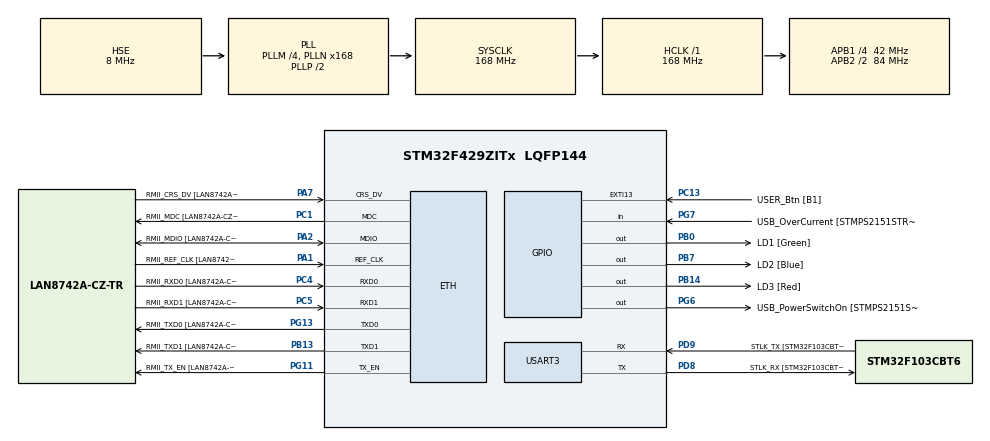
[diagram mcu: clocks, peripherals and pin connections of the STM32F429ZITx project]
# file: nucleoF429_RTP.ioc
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Dma.Request0=USART3_RX
Dma.Request1=USART3_TX
Dma.USART3_RX.0.Direction=DMA_PERIPH_TO_MEMORY
Dma.USART3_RX.0.FIFOMode=DMA_FIFOMODE_ENABLE
Dma.USART3_RX.0.FIFOThreshold=DMA_FIFO_THRESHOLD_HALFFULL
Dma.USART3_RX.0.Instance=DMA1_Stream1
Dma.USART3_RX.0.MemBurst=DMA_MBURST_SINGLE
Dma.USART3_RX.0.MemDataAlignment=DMA_MDATAALIGN_BYTE
Dma.USART3_RX.0.MemInc=DMA_MINC_ENABLE
Dma.USART3_RX.0.Mode=DMA_NORMAL
Dma.USART3_RX.0.PeriphBurst=DMA_PBURST_SINGLE
Dma.USART3_RX.0.PeriphDataAlignment=DMA_PDATAALIGN_BYTE
Dma.USART3_RX.0.PeriphInc=DMA_PINC_DISABLE
Dma.USART3_RX.0.Priority=DMA_PRIORITY_LOW
Dma.USART3_TX.1.Direction=DMA_MEMORY_TO_PERIPH
Dma.USART3_TX.1.FIFOMode=DMA_FIFOMODE_ENABLE
Dma.USART3_TX.1.FIFOThreshold=DMA_FIFO_THRESHOLD_HALFFULL
Dma.USART3_TX.1.Instance=DMA1_Stream3
Dma.USART3_TX.1.MemBurst=DMA_MBURST_SINGLE
Dma.USART3_TX.1.MemDataAlignment=DMA_MDATAALIGN_BYTE
Dma.USART3_TX.1.MemInc=DMA_MINC_ENABLE
Dma.USART3_TX.1.Mode=DMA_NORMAL
Dma.USART3_TX.1.PeriphBurst=DMA_PBURST_SINGLE
Dma.USART3_TX.1.PeriphDataAlignment=DMA_PDATAALIGN_BYTE
Dma.USART3_TX.1.PeriphInc=DMA_PINC_DISABLE
Dma.USART3_TX.1.Priority=DMA_PRIORITY_LOW
ETH.MediaInterface=HAL_ETH_RMII_MODE
ETH.PHY_Name=LAN8742A_PHY_ADDRESS
ETH.PHY_Value=0
ETH.PhyAddress=0
FREERTOS.Tasks01=defaultTask,0,128,StartDefaultTask,Default,NULL,Dynamic,NULL,NULL
FREERTOS.configUSE_NEWLIB_REENTRANT=1
LWIP.BSP.number=1
LWIP.LWIP_IGMP=1
LWIP.LWIP_MULTICAST_TX_OPTIONS=1
LWIP.Version=v2.1.2_Cube
LWIP0.BSP.STBoard=false
LWIP0.BSP.api=BSP_COMPONENT_DRIVER
LWIP0.BSP.component=LAN8742
LWIP0.BSP.instance=LAN8742
LWIP0.BSP.name=Driver_PHY
LWIP0.BSP.semaphore=S_LAN8742
LWIP0.BSP.solution=LAN8742
Mcu.Family=STM32F4
Mcu.Name=STM32F429ZITx
Mcu.Package=LQFP144
NVIC.DMA1_Stream1_IRQn=true\:5\:0\:false\:false\:true\:true\:false\:true\:true
NVIC.DMA1_Stream3_IRQn=true\:5\:0\:false\:false\:true\:true\:false\:true\:true
NVIC.ETH_IRQn=true\:5\:0\:false\:false\:true\:true\:false\:true\:true
NVIC.PriorityGroup=NVIC_PRIORITYGROUP_4
NVIC.TIM1_UP_TIM10_IRQn=true\:15\:0\:false\:false\:true\:false\:false\:true\:true
NVIC.TimeBase=TIM1_UP_TIM10_IRQn
NVIC.TimeBaseIP=TIM1
NVIC.USART3_IRQn=true\:5\:0\:false\:false\:true\:true\:true\:true\:true
PA1.GPIO_Label=RMII_REF_CLK [LAN8742A-CZ-TR_REFCLK0]
PA1.Mode=RMII
PA1.Signal=ETH_REF_CLK
PA10.GPIO_Label=USB_ID
PA10.Signal=USB_OTG_FS_ID
PA11.GPIO_Label=USB_DM
PA11.Signal=USB_OTG_FS_DM
PA12.GPIO_Label=USB_DP
PA12.Signal=USB_OTG_FS_DP
PA13.GPIO_Label=TMS
PA13.Mode=Serial_Wire
PA13.Signal=SYS_JTMS-SWDIO
PA14.GPIO_Label=TCK
PA14.Mode=Serial_Wire
PA14.Signal=SYS_JTCK-SWCLK
PA2.GPIO_Label=RMII_MDIO [LAN8742A-CZ-TR_MDIO]
PA2.Mode=RMII
PA2.Signal=ETH_MDIO
PA7.GPIO_Label=RMII_CRS_DV [LAN8742A-CZ-TR_CRS_DV]
PA7.Mode=RMII
PA7.Signal=ETH_CRS_DV
PA8.GPIO_Label=USB_SOF [TP1]
PA8.Signal=USB_OTG_FS_SOF
PA9.GPIO_Label=USB_VBUS
PA9.Signal=USB_OTG_FS_VBUS
PB0.GPIO_Label=LD1 [Green]
PB0.Signal=GPIO_Output
PB13.GPIO_Label=RMII_TXD1 [LAN8742A-CZ-TR_TXD1]
PB13.Mode=RMII
PB13.Signal=ETH_TXD1
PB14.GPIO_Label=LD3 [Red]
PB14.Signal=GPIO_Output
PB7.GPIO_Label=LD2 [Blue]
PB7.Signal=GPIO_Output
PC1.GPIO_Label=RMII_MDC [LAN8742A-CZ-TR_MDC]
PC1.Mode=RMII
PC1.Signal=ETH_MDC
PC13.GPIO_Label=USER_Btn [B1]
PC13.Signal=GPXTI13
PC14/OSC32_IN.Mode=LSE-External-Oscillator
PC14/OSC32_IN.Signal=RCC_OSC32_IN
PC15/OSC32_OUT.Mode=LSE-External-Oscillator
PC15/OSC32_OUT.Signal=RCC_OSC32_OUT
PC4.GPIO_Label=RMII_RXD0 [LAN8742A-CZ-TR_RXD0]
PC4.Mode=RMII
PC4.Signal=ETH_RXD0
PC5.GPIO_Label=RMII_RXD1 [LAN8742A-CZ-TR_RXD1]
PC5.Mode=RMII
PC5.Signal=ETH_RXD1
PD8.GPIO_Label=STLK_RX [STM32F103CBT6_PA3]
PD8.Mode=Asynchronous
PD8.Signal=USART3_TX
PD9.GPIO_Label=STLK_TX [STM32F103CBT6_PA2]
PD9.Mode=Asynchronous
PD9.Signal=USART3_RX
PG11.GPIO_Label=RMII_TX_EN [LAN8742A-CZ-TR_TXEN]
PG11.Mode=RMII
PG11.Signal=ETH_TX_EN
PG13.GPIO_Label=RMII_TXD0 [LAN8742A-CZ-TR_TXD0]
PG13.Mode=RMII
PG13.Signal=ETH_TXD0
PG6.GPIO_Label=USB_PowerSwitchOn [STMPS2151STR_EN]
PG6.Signal=GPIO_Output
PG7.GPIO_Label=USB_OverCurrent [STMPS2151STR_FAULT]
PG7.Signal=GPIO_Input
PH0/OSC_IN.GPIO_Label=MCO [STM32F103CBT6_PA8]
PH0/OSC_IN.Mode=HSE-External-Clock-Source
PH0/OSC_IN.Signal=RCC_OSC_IN
PH1/OSC_OUT.Mode=HSE-External-Clock-Source
PH1/OSC_OUT.Signal=RCC_OSC_OUT
ProjectManager.HeapSize=0x200
ProjectManager.StackSize=0x400
ProjectManager.TargetToolchain=STM32CubeIDE
RCC.48MHZClocksFreq_Value=48000000
RCC.AHBFreq_Value=168000000
RCC.APB1CLKDivider=RCC_HCLK_DIV4
RCC.APB1Freq_Value=42000000
RCC.APB1TimFreq_Value=84000000
RCC.APB2CLKDivider=RCC_HCLK_DIV2
RCC.APB2Freq_Value=84000000
RCC.APB2TimCLKDivider=2
RCC.APB2TimFreq_Value=168000000
RCC.CortexFreq_Value=168000000
RCC.HCLKFreq_Value=168000000
RCC.HSE_VALUE=8000000
RCC.HSI_VALUE=16000000
RCC.PLLM=4
RCC.PLLMUL=RCC_PLL_MUL9
RCC.PLLN=168
RCC.PLLQ=7
RCC.PLLSourceVirtual=RCC_PLLSOURCE_HSE
RCC.PRESCALERUSB=RCC_USBCLKSOURCE_PLL_DIV1_5
RCC.SYSCLKFreq_VALUE=168000000
RCC.SYSCLKSource=RCC_SYSCLKSOURCE_PLLCLK
RCC.SYSCLKSourceVirtual=RCC_SYSCLKSOURCE_PLLCLK
RCC.USBFreq_Value=48000000
RCC.VCOOutputFreq_Value=336000000
USART3.VirtualMode=VM_ASYNC
VP_CRC_VS_CRC.Mode=CRC_Activate
VP_FREERTOS_VS_CMSIS_V1.Mode=CMSIS_V1
VP_LWIP_VS_Enabled.Mode=Enabled
VP_RTC_VS_RTC_Activate.Mode=RTC_Enabled
VP_SYS_VS_tim1.Mode=TIM1
board=NUCLEO-F429ZI

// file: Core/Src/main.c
/* USER CODE BEGIN Header */
/**
  ******************************************************************************
  * @file           : main.c
  * @brief          : Main program body
  ******************************************************************************
  * @attention
  *
  * Copyright (c) 2024 STMicroelectronics.
  * All rights reserved.
  *
  * This software is licensed under terms that can be found in the LICENSE file
  * in the root directory of this software component.
  * If no LICENSE file comes with this software, it is provided AS-IS.
  *
  ******************************************************************************
  */
/* USER CODE END Header */
#include "main.h"
#include "cmsis_os.h"
#include "lwip.h"

/* USER CODE BEGIN Includes */
#include "udpecho_raw.h"
#include "logging.h"
#include <stdio.h>

/* USER CODE END Includes */

/* USER CODE BEGIN PM */
static uint8_t FIRMWARE_VERSION_DATA[3] = {1, 0, 0};

/* USER CODE END PM */

CRC_HandleTypeDef hcrc;

RTC_HandleTypeDef hrtc;

UART_HandleTypeDef huart3;
DMA_HandleTypeDef hdma_usart3_rx;
DMA_HandleTypeDef hdma_usart3_tx;

osThreadId defaultTaskHandle;
/* USER CODE BEGIN PV */

struct netif gnetif;
ip4_addr_t ipaddr;
ip4_addr_t netmask;
ip4_addr_t gw;

/* USER CODE END PV */

void SystemClock_Config(void);
static void MX_GPIO_Init(void);
static void MX_DMA_Init(void);
static void MX_RTC_Init(void);
static void MX_USART3_UART_Init(void);
static void MX_CRC_Init(void);
void StartDefaultTask(void const * argument);

int main(void)
{

  /* MCU Configuration--------------------------------------------------------*/

  /* Reset of all peripherals, Initializes the Flash interface and the Systick. */
  HAL_Init();

  /* Configure the system clock */
  SystemClock_Config();

  /* Initialize all configured peripherals */
  MX_GPIO_Init();
  MX_DMA_Init();
  MX_RTC_Init();
  MX_USART3_UART_Init();
  MX_CRC_Init();
  /* USER CODE BEGIN 2 */

  printf("\033c");

  init_dma_logging();
  printf("Duvitech Ethernet FW v%d.%d.%d\r\n\r\n",FIRMWARE_VERSION_DATA[0], FIRMWARE_VERSION_DATA[1], FIRMWARE_VERSION_DATA[2]);

  /* USER CODE END 2 */

  /* Create the thread(s) */
  /* definition and creation of defaultTask */
  osThreadDef(defaultTask, StartDefaultTask, osPriorityNormal, 0, 256);
  defaultTaskHandle = osThreadCreate(osThread(defaultTask), NULL);

  /* Start scheduler */
  osKernelStart();

  /* We should never get here as control is now taken by the scheduler */

  /* Infinite loop */
  while (1)
  {

  }
}

void SystemClock_Config(void)
{
  RCC_OscInitTypeDef RCC_OscInitStruct = {0};
  RCC_ClkInitTypeDef RCC_ClkInitStruct = {0};

  /** Configure the main internal regulator output voltage
  */
  __HAL_RCC_PWR_CLK_ENABLE();
  __HAL_PWR_VOLTAGESCALING_CONFIG(PWR_REGULATOR_VOLTAGE_SCALE1);

  /** Initializes the RCC Oscillators according to the specified parameters
  * in the RCC_OscInitTypeDef structure.
  */
  RCC_OscInitStruct.OscillatorType = RCC_OSCILLATORTYPE_LSI|RCC_OSCILLATORTYPE_HSE;
  RCC_OscInitStruct.HSEState = RCC_HSE_BYPASS;
  RCC_OscInitStruct.LSIState = RCC_LSI_ON;
  RCC_OscInitStruct.PLL.PLLState = RCC_PLL_ON;
  RCC_OscInitStruct.PLL.PLLSource = RCC_PLLSOURCE_HSE;
  RCC_OscInitStruct.PLL.PLLM = 4;
  RCC_OscInitStruct.PLL.PLLN = 168;
  RCC_OscInitStruct.PLL.PLLP = RCC_PLLP_DIV2;
  RCC_OscInitStruct.PLL.PLLQ = 7;
  if (HAL_RCC_OscConfig(&RCC_OscInitStruct) != HAL_OK)
  {
    Error_Handler();
  }

  /** Initializes the CPU, AHB and APB buses clocks
  */
  RCC_ClkInitStruct.ClockType = RCC_CLOCKTYPE_HCLK|RCC_CLOCKTYPE_SYSCLK
                              |RCC_CLOCKTYPE_PCLK1|RCC_CLOCKTYPE_PCLK2;
  RCC_ClkInitStruct.SYSCLKSource = RCC_SYSCLKSOURCE_PLLCLK;
  RCC_ClkInitStruct.AHBCLKDivider = RCC_SYSCLK_DIV1;
  RCC_ClkInitStruct.APB1CLKDivider = RCC_HCLK_DIV4;
  RCC_ClkInitStruct.APB2CLKDivider = RCC_HCLK_DIV2;

  if (HAL_RCC_ClockConfig(&RCC_ClkInitStruct, FLASH_LATENCY_5) != HAL_OK)
  {
    Error_Handler();
  }
}

static void MX_CRC_Init(void)
{

  hcrc.Instance = CRC;
  if (HAL_CRC_Init(&hcrc) != HAL_OK)
  {
    Error_Handler();
  }

}

static void MX_RTC_Init(void)
{

  /** Initialize RTC Only
  */
  hrtc.Instance = RTC;
  hrtc.Init.HourFormat = RTC_HOURFORMAT_24;
  hrtc.Init.AsynchPrediv = 127;
  hrtc.Init.SynchPrediv = 255;
  hrtc.Init.OutPut = RTC_OUTPUT_DISABLE;
  hrtc.Init.OutPutPolarity = RTC_OUTPUT_POLARITY_HIGH;
  hrtc.Init.OutPutType = RTC_OUTPUT_TYPE_OPENDRAIN;
  if (HAL_RTC_Init(&hrtc) != HAL_OK)
  {
    Error_Handler();
  }

}

static void MX_USART3_UART_Init(void)
{

  huart3.Instance = USART3;
  huart3.Init.BaudRate = 115200;
  huart3.Init.WordLength = UART_WORDLENGTH_8B;
  huart3.Init.StopBits = UART_STOPBITS_1;
  huart3.Init.Parity = UART_PARITY_NONE;
  huart3.Init.Mode = UART_MODE_TX_RX;
  huart3.Init.HwFlowCtl = UART_HWCONTROL_NONE;
  huart3.Init.OverSampling = UART_OVERSAMPLING_16;
  if (HAL_UART_Init(&huart3) != HAL_OK)
  {
    Error_Handler();
  }

}

static void MX_DMA_Init(void)
{

  /* DMA controller clock enable */
  __HAL_RCC_DMA1_CLK_ENABLE();

  /* DMA interrupt init */
  /* DMA1_Stream1_IRQn interrupt configuration */
  HAL_NVIC_SetPriority(DMA1_Stream1_IRQn, 5, 0);
  HAL_NVIC_EnableIRQ(DMA1_Stream1_IRQn);
  /* DMA1_Stream3_IRQn interrupt configuration */
  HAL_NVIC_SetPriority(DMA1_Stream3_IRQn, 5, 0);
  HAL_NVIC_EnableIRQ(DMA1_Stream3_IRQn);

}

static void MX_GPIO_Init(void)
{
  GPIO_InitTypeDef GPIO_InitStruct = {0};

  /* GPIO Ports Clock Enable */
  __HAL_RCC_GPIOC_CLK_ENABLE();
  __HAL_RCC_GPIOH_CLK_ENABLE();
  __HAL_RCC_GPIOA_CLK_ENABLE();
  __HAL_RCC_GPIOB_CLK_ENABLE();
  __HAL_RCC_GPIOD_CLK_ENABLE();
  __HAL_RCC_GPIOG_CLK_ENABLE();

  /*Configure GPIO pin Output Level */
  HAL_GPIO_WritePin(GPIOB, LD1_Pin|LD3_Pin|LD2_Pin, GPIO_PIN_RESET);

  /*Configure GPIO pin Output Level */
  HAL_GPIO_WritePin(USB_PowerSwitchOn_GPIO_Port, USB_PowerSwitchOn_Pin, GPIO_PIN_RESET);

  /*Configure GPIO pin : USER_Btn_Pin */
  GPIO_InitStruct.Pin = USER_Btn_Pin;
  GPIO_InitStruct.Mode = GPIO_MODE_IT_RISING;
  GPIO_InitStruct.Pull = GPIO_NOPULL;
  HAL_GPIO_Init(USER_Btn_GPIO_Port, &GPIO_InitStruct);

  /*Configure GPIO pins : LD1_Pin LD3_Pin LD2_Pin */
  GPIO_InitStruct.Pin = LD1_Pin|LD3_Pin|LD2_Pin;
  GPIO_InitStruct.Mode = GPIO_MODE_OUTPUT_PP;
  GPIO_InitStruct.Pull = GPIO_NOPULL;
  GPIO_InitStruct.Speed = GPIO_SPEED_FREQ_LOW;
  HAL_GPIO_Init(GPIOB, &GPIO_InitStruct);

  /*Configure GPIO pin : USB_PowerSwitchOn_Pin */
  GPIO_InitStruct.Pin = USB_PowerSwitchOn_Pin;
  GPIO_InitStruct.Mode = GPIO_MODE_OUTPUT_PP;
  GPIO_InitStruct.Pull = GPIO_NOPULL;
  GPIO_InitStruct.Speed = GPIO_SPEED_FREQ_LOW;
  HAL_GPIO_Init(USB_PowerSwitchOn_GPIO_Port, &GPIO_InitStruct);

  /*Configure GPIO pin : USB_OverCurrent_Pin */
  GPIO_InitStruct.Pin = USB_OverCurrent_Pin;
  GPIO_InitStruct.Mode = GPIO_MODE_INPUT;
  GPIO_InitStruct.Pull = GPIO_NOPULL;
  HAL_GPIO_Init(USB_OverCurrent_GPIO_Port, &GPIO_InitStruct);

  /*Configure GPIO pins : USB_SOF_Pin USB_ID_Pin USB_DM_Pin USB_DP_Pin */
  GPIO_InitStruct.Pin = USB_SOF_Pin|USB_ID_Pin|USB_DM_Pin|USB_DP_Pin;
  GPIO_InitStruct.Mode = GPIO_MODE_AF_PP;
  GPIO_InitStruct.Pull = GPIO_NOPULL;
  GPIO_InitStruct.Speed = GPIO_SPEED_FREQ_VERY_HIGH;
  GPIO_InitStruct.Alternate = GPIO_AF10_OTG_FS;
  HAL_GPIO_Init(GPIOA, &GPIO_InitStruct);

  /*Configure GPIO pin : USB_VBUS_Pin */
  GPIO_InitStruct.Pin = USB_VBUS_Pin;
  GPIO_InitStruct.Mode = GPIO_MODE_INPUT;
  GPIO_InitStruct.Pull = GPIO_NOPULL;
  HAL_GPIO_Init(USB_VBUS_GPIO_Port, &GPIO_InitStruct);

}

void StartDefaultTask(void const * argument)
{
  /* init code for LWIP */
  MX_LWIP_Init();
  /* USER CODE BEGIN 5 */
  udpecho_raw_init();
  /* Infinite loop */
  for(;;)
  {
    osDelay(500);
    HAL_GPIO_TogglePin(LD2_GPIO_Port, LD2_Pin);

  }
  /* USER CODE END 5 */
}

void HAL_TIM_PeriodElapsedCallback(TIM_HandleTypeDef *htim)
{
  if (htim->Instance == TIM1) {
    HAL_IncTick();
  }
}

void Error_Handler(void)
{
  /* USER CODE BEGIN Error_Handler_Debug */
  /* User can add his own implementation to report the HAL error return state */
  HAL_GPIO_WritePin(LD3_GPIO_Port, LD3_Pin, GPIO_PIN_SET);
  __disable_irq();
  while (1)
  {
  }
  /* USER CODE END Error_Handler_Debug */
}
